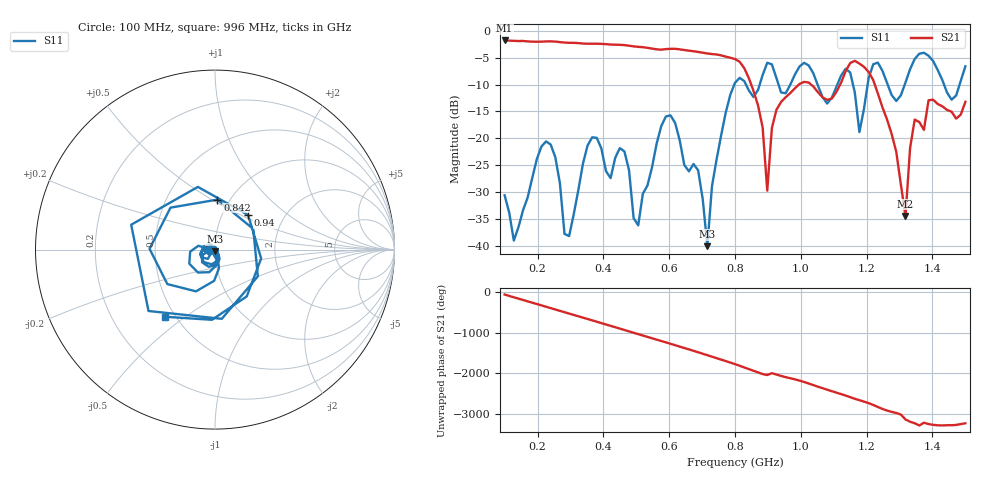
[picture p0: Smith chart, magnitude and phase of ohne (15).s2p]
! NanoVNA-App
! Date: 2025-09-25 14:20:55
! Start: 100MHz Stop: 1,5GHz Points: 101
! S-Parameter data: F S11 S21 S12 S22
# Hz S RI R 50
!  Frequency  S11_Real  S11_Imag  S21_Real  S21_Imag  S12_Real  S12_Imag  S22_Real  S22_Imag
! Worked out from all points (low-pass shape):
!   101 points, 100 MHz to 1.5 GHz, reference 50 ohm
!   highest |S21| = -1.79 dB at 100 MHz (marker M1); lowest = -34.5 dB at 1.318 GHz (marker M2)
!   |S21| within 3 dB of the highest: start of sweep to 771.1 MHz
!   lowest |S11| = -40.1 dB at 716 MHz (marker M3), VSWR 1.02, Z = 49.8 - j0.969 ohm
!   |S11| at or under -10 dB: start of sweep to 798 MHz; 833.2 MHz to 875.1 MHz (41.9 MHz wide, 4.91 % of centre); 1.051 GHz to 1.111 GHz (60.37 MHz wide, 5.58 % of centre) (the widest 3 of 7)
!   S12 and S22 are empty: the file has one direction only
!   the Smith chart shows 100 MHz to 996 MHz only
!   S11 on the Smith chart (normalised r, x): 100 MHz: 0.94, -0.01; 842 MHz: 0.88, +0.53; 940 MHz: 1.32, +0.55; 996 MHz: 0.44, -0.42
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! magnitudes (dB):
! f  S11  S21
! 100 MHz  -30.6  -1.8
! 128 MHz  -39.1  -1.9
! 226 MHz  -20.6  -2.0
! 296 MHz  -38.2  -2.2
! 338 MHz  -24.8  -2.4
! 464 MHz  -22.5  -2.7
! 506 MHz  -36.2  -3.0
! 576 MHz  -17.8  -3.5
! 688 MHz  -26.0  -3.9
! 716 MHz  -40.1  -4.2
! 800 MHz  -9.7  -5.3
! 842 MHz  -11.1  -8.8
! 898 MHz  -5.9  -29.8
! 940 MHz  -11.5  -13.2
! 996 MHz  -6.6  -9.9
! 1.038 GHz  -7.9  -10.4
! 1.178 GHz  -18.9  -6.1
! 1.22 GHz  -6.2  -9.2
! 1.276 GHz  -12.0  -19.2
! 1.318 GHz  -9.6  -34.5
! 1.346 GHz  -5.2  -16.5
! 1.5 GHz  -6.6  -13.2
